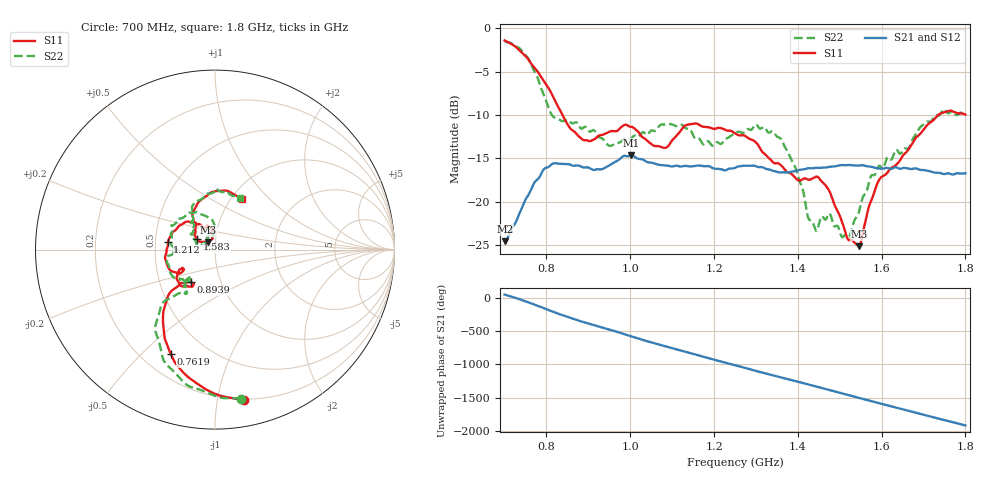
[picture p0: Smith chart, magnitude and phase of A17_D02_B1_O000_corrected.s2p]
! Created with skrf 1.9.0 (http://scikit-rf.org).
# Hz S RI R 50.0
!freq ReS11 ImS11 ReS21 ImS21 ReS12 ImS12 ReS22 ImS22
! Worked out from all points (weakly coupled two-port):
!   1601 points, 700 MHz to 1.8 GHz, reference 50 ohm
!   highest |S21| = -14.67 dB at 1.002 GHz (marker M1); lowest = -24.6 dB at 700.7 MHz (marker M2)
!   lowest |S11| = -25.1 dB at 1.546 GHz (marker M3), VSWR 1.12, Z = 46.3 + j3.86 ohm
!   |S11| at or under -10 dB: 838.1 MHz to 1.735 GHz (896.9 MHz wide, 69.7 % of centre)
!   |S22| runs from -24.1 to -1.5 dB; largest |S21 - S12| = 0.0035
!   S11 on the Smith chart (normalised r, x): 700 MHz: 0.20, -1.19; 761.9 MHz: 0.32, -0.62; 893.9 MHz: 0.72, -0.28; 1.212 GHz: 0.58, +0.05; 1.583 GHz: 0.82, +0.09; 1.8 GHz: 1.12, +0.70
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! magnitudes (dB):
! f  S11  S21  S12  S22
! 700 MHz  -1.4  -24.5  -24.3  -1.5
! 700.7 MHz  -1.4  -24.6  -24.3  -1.5
! 761.9 MHz  -4.0  -18.7  -18.7  -4.0
! 814.1 MHz  -7.7  -15.6  -15.7  -10.1
! 883.6 MHz  -12.7  -16.0  -15.9  -11.6
! 893.9 MHz  -12.9  -16.0  -16.1  -11.4
! 950.2 MHz  -11.9  -15.8  -15.8  -13.6
! 1.002 GHz  -11.4  -14.7  -14.8  -12.7
! 1.067 GHz  -13.6  -15.7  -15.7  -11.4
! 1.137 GHz  -11.1  -15.9  -15.9  -11.6
! 1.212 GHz  -11.5  -16.2  -16.2  -13.2
! 1.25 GHz  -12.1  -16.1  -16.0  -12.2
! 1.3 GHz  -13.2  -15.9  -15.9  -11.1
! 1.359 GHz  -15.8  -16.6  -16.6  -12.7
! 1.434 GHz  -17.4  -16.2  -16.1  -22.2
! 1.472 GHz  -18.5  -16.0  -16.0  -21.6
! 1.52 GHz  -24.4  -15.8  -15.8  -24.0
! 1.546 GHz  -25.1  -15.8  -15.8  -21.1
! 1.583 GHz  -18.8  -16.1  -16.1  -16.9
! 1.617 GHz  -16.4  -16.2  -16.1  -14.9
! 1.737 GHz  -9.9  -16.7  -16.7  -10.1
! 1.8 GHz  -9.9  -16.7  -16.7  -9.9
